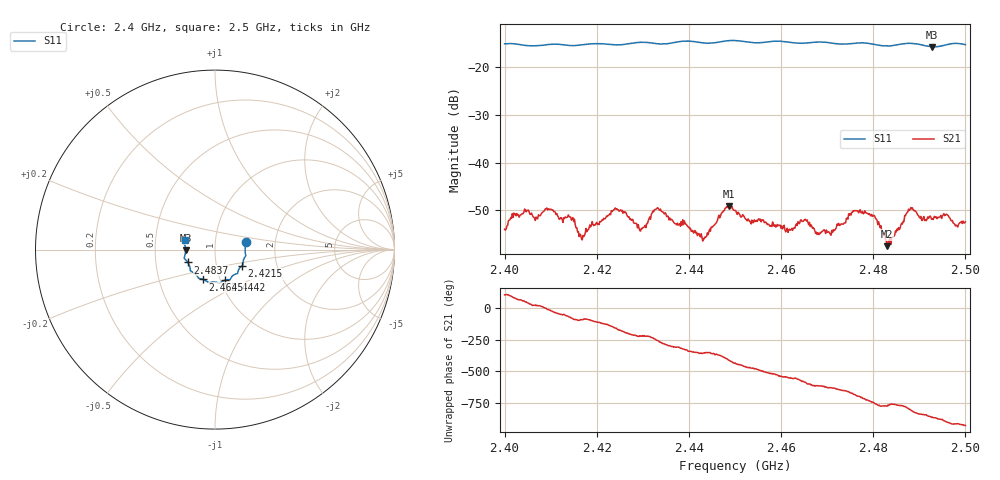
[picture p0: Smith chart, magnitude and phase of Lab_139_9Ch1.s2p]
# Hz S RI R 50
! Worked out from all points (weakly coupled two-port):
!   601 points, 2.4 GHz to 2.5 GHz, reference 50 ohm
!   highest |S21| = -49.06 dB at 2.4487 GHz (marker M1); lowest = -57.5 dB at 2.483 GHz (marker M2)
!   lowest |S11| = -15.7 dB at 2.4928 GHz (marker M3), VSWR 1.39, Z = 35.9 - j0.37 ohm
!   |S11| at or under -10 dB: start of sweep to end of sweep
!   S12 and S22 are empty: the file has one direction only
!   S11 on the Smith chart (normalised r, x): 2.4 GHz: 1.41, +0.12; 2.4215 GHz: 1.33, -0.25; 2.4442 GHz: 1.05, -0.37; 2.4645 GHz: 0.83, -0.29; 2.4837 GHz: 0.73, -0.11; 2.5 GHz: 0.71, +0.07
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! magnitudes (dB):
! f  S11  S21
! 2.4 GHz  -15.1  -53.9
! 2.4095 GHz  -15.2  -49.7
! 2.4167 GHz  -15.3  -55.9
! 2.4215 GHz  -15.1  -51.6
! 2.4243 GHz  -15.3  -49.6
! 2.4297 GHz  -14.8  -53.8
! 2.4333 GHz  -15.1  -49.5
! 2.4442 GHz  -15.0  -55.1
! 2.4487 GHz  -14.4  -49.1
! 2.45 GHz  -14.4  -50.0
! 2.4613 GHz  -14.7  -53.7
! 2.4645 GHz  -15.0  -52.3
! 2.4667 GHz  -14.8  -53.3
! 2.471 GHz  -14.9  -54.2
! 2.4767 GHz  -14.9  -50.1
! 2.4802 GHz  -15.2  -51.0
! 2.483 GHz  -15.6  -57.5
! 2.4833 GHz  -15.6  -56.2
! 2.4837 GHz  -15.5  -55.6
! 2.488 GHz  -15.0  -49.8
! 2.4928 GHz  -15.7  -51.7
! 2.5 GHz  -15.3  -52.4
